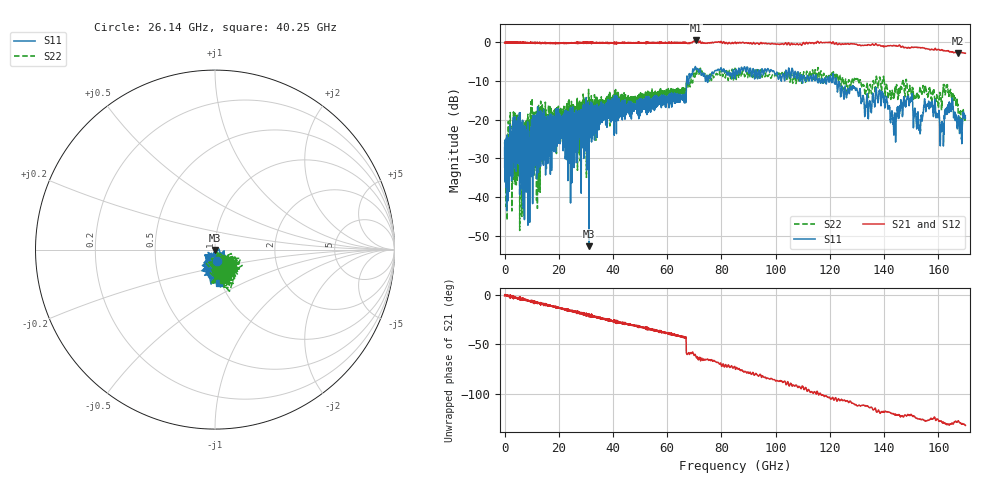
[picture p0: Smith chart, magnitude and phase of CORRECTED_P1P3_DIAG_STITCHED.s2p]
! Generated by Phase II Calibration
# Hz S RI R 50
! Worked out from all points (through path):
!   4072 points, 10 MHz to 170 GHz, reference 50 ohm
!   highest |S21| = 0.48 dB at 70.65 GHz (marker M1); lowest = -2.8 dB at 167.2 GHz (marker M2)
!   group delay of S21, straight-line fit = 2.38 ps
!   lowest |S11| = -52.7 dB at 31.12 GHz (marker M3), VSWR 1.00, Z = 50.1 - j0.221 ohm
!   |S11| at or under -10 dB: start of sweep to 67.16 GHz; 121.5 GHz to 122.2 GHz (700.2 MHz wide, 0.575 % of centre); 122.5 GHz to end of sweep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
!   |S22| runs from -48.6 to -6.5 dB; largest |S21 - S12| = 0.025
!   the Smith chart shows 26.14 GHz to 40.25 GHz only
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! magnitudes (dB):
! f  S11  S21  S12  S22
! 10 MHz  -27.2  -0.1  -0.1  -25.8
! 5.244 GHz  -31.4  0.0  0.0  -21.8
! 8.467 GHz  -27.9  -0.1  -0.1  -38.4
! 13.45 GHz  -20.9  -0.1  -0.1  -27.6
! 28.36 GHz  -17.4  -0.1  -0.1  -17.7
! 31.12 GHz  -52.7  -0.1  -0.1  -15.3
! 56.7 GHz  -16.2  -0.1  -0.1  -12.8
! 66.12 GHz  -14.2  -0.2  -0.2  -13.7
! 70.65 GHz  -6.9  0.5  0.4  -7.1
! 85.05 GHz  -8.6  0.1  0.0  -6.7
! 113.3 GHz  -9.8  -0.1  -0.2  -7.8
! 141.7 GHz  -17.0  -0.9  -0.9  -13.6
! 143.9 GHz  -18.9  -0.9  -0.9  -12.6
! 149.6 GHz  -14.9  -1.5  -1.4  -12.0
! 152.7 GHz  -19.9  -1.3  -1.4  -14.7
! 155.6 GHz  -16.5  -1.6  -1.6  -12.7
! 158.2 GHz  -19.2  -1.9  -1.8  -12.4
! 161.3 GHz  -21.9  -1.9  -2.0  -15.8
! 162.6 GHz  -17.3  -2.3  -2.3  -13.0
! 164.6 GHz  -17.8  -2.4  -2.4  -13.2
! 167.2 GHz  -20.7  -2.8  -2.7  -16.1
! 170 GHz  -19.6  -2.8  -2.8  -18.7
